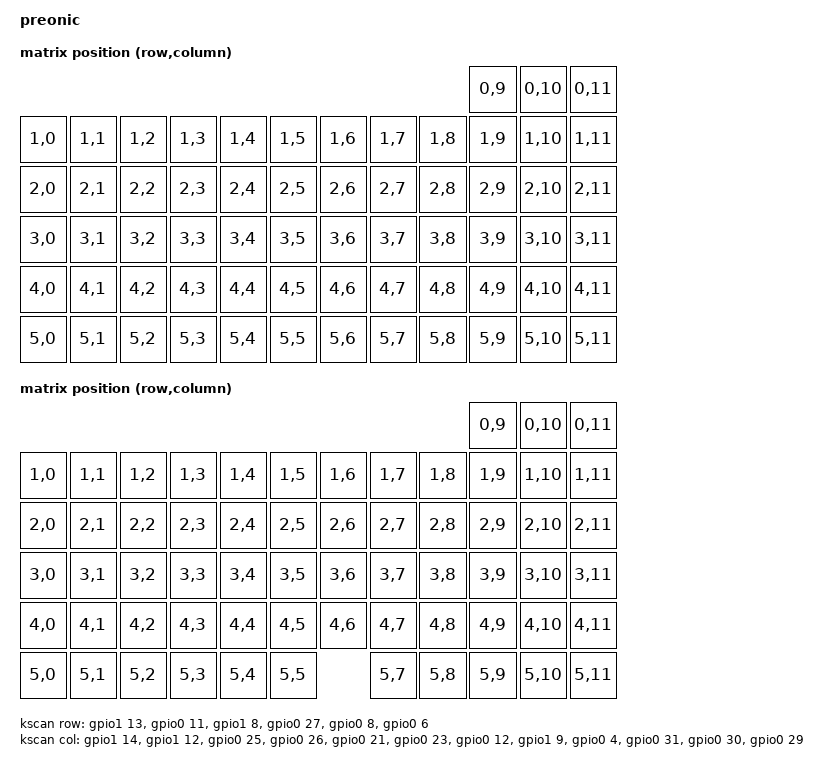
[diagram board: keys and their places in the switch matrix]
/*
 * Copyright (c) 2022 Pete Johanson
 *
 * SPDX-License-Identifier: MIT
 */

/dts-v1/;
#include <nordic/nrf52840_qiaa.dtsi>
#include <dt-bindings/zmk/matrix_transform.h>
#include <physical_layouts.dtsi>

/ {
	model = "preonic";
	compatible = "keyboardio,preonic";

	chosen {
		zephyr,code-partition = &code_partition;
		zephyr,sram = &sram0;
		zephyr,flash = &flash0;
		zmk,battery = &fuelgauge;
		zmk,kscan = &kscan;
		zmk,physical-layout = &preonic_layout;
	};

	ortho_transform: ortho_transform {
		compatible = "zmk,matrix-transform";
		rows = <4>;
		columns = <12>;

		map = <
	                                                                        RC(0,9) RC(0,10) RC(0,11)
	RC(1,0) RC(1,1) RC(1,2) RC(1,3) RC(1,4) RC(1,5) RC(1,6) RC(1,7) RC(1,8) RC(1,9) RC(1,10) RC(1,11)
	RC(2,0) RC(2,1) RC(2,2) RC(2,3) RC(2,4) RC(2,5) RC(2,6) RC(2,7) RC(2,8) RC(2,9) RC(2,10) RC(2,11)
	RC(3,0) RC(3,1) RC(3,2) RC(3,3) RC(3,4) RC(3,5) RC(3,6) RC(3,7) RC(3,8) RC(3,9) RC(3,10) RC(3,11)
	RC(4,0) RC(4,1) RC(4,2) RC(4,3) RC(4,4) RC(4,5) RC(4,6) RC(4,7) RC(4,8) RC(4,9) RC(4,10) RC(4,11)
	RC(5,0) RC(5,1) RC(5,2) RC(5,3) RC(5,4) RC(5,5) RC(5,6) RC(5,7) RC(5,8) RC(5,9) RC(5,10) RC(5,11)
	>;
	};

	mit_transform: mit_transform {
		compatible = "zmk,matrix-transform";
		rows = <4>;
		columns = <12>;

		map = <
	                                                                        RC(0,9) RC(0,10) RC(0,11)
	RC(1,0) RC(1,1) RC(1,2) RC(1,3) RC(1,4) RC(1,5) RC(1,6) RC(1,7) RC(1,8) RC(1,9) RC(1,10) RC(1,11)
	RC(2,0) RC(2,1) RC(2,2) RC(2,3) RC(2,4) RC(2,5) RC(2,6) RC(2,7) RC(2,8) RC(2,9) RC(2,10) RC(2,11)
	RC(3,0) RC(3,1) RC(3,2) RC(3,3) RC(3,4) RC(3,5) RC(3,6) RC(3,7) RC(3,8) RC(3,9) RC(3,10) RC(3,11)
	RC(4,0) RC(4,1) RC(4,2) RC(4,3) RC(4,4) RC(4,5) RC(4,6) RC(4,7) RC(4,8) RC(4,9) RC(4,10) RC(4,11)
	RC(5,0) RC(5,1) RC(5,2) RC(5,3) RC(5,4)     RC(5,5)     RC(5,7) RC(5,8) RC(5,9) RC(5,10) RC(5,11)
	>;
	};

	kscan: kscan {
		compatible = "zmk,kscan-gpio-matrix";

		wakeup-source;

		diode-direction = "col2row";

		col-gpios
			= <&gpio1 14 (GPIO_ACTIVE_HIGH)>
			, <&gpio1 12 (GPIO_ACTIVE_HIGH)>
			, <&gpio0 25 (GPIO_ACTIVE_HIGH)>
			, <&gpio0 26 (GPIO_ACTIVE_HIGH)>
			, <&gpio0 21 (GPIO_ACTIVE_HIGH)>
			, <&gpio0 23 (GPIO_ACTIVE_HIGH)>
			, <&gpio0 12 (GPIO_ACTIVE_HIGH)>
			, <&gpio1 9  (GPIO_ACTIVE_HIGH)>
			, <&gpio0 4  (GPIO_ACTIVE_HIGH)>
			, <&gpio0 31 (GPIO_ACTIVE_HIGH)>
			, <&gpio0 30 (GPIO_ACTIVE_HIGH)>
			, <&gpio0 29 (GPIO_ACTIVE_HIGH)>
			;

		row-gpios
			= <&gpio1 13 (GPIO_ACTIVE_HIGH | GPIO_PULL_DOWN)>
			, <&gpio0 11 (GPIO_ACTIVE_HIGH | GPIO_PULL_DOWN)>
			, <&gpio1 8  (GPIO_ACTIVE_HIGH | GPIO_PULL_DOWN)>
			, <&gpio0 27 (GPIO_ACTIVE_HIGH | GPIO_PULL_DOWN)>
			, <&gpio0 8  (GPIO_ACTIVE_HIGH | GPIO_PULL_DOWN)>
			, <&gpio0 6  (GPIO_ACTIVE_HIGH | GPIO_PULL_DOWN)>
			;
	};

	preonic_layout: preonic_layout {
		compatible = "zmk,physical-layout";
		display-name = "Preonic Layout";
		transform = <&ortho_transform>;
		kscan = <&kscan>;

		keys  // Simple minimal test with just first few keys
			= <&key_physical_attrs 100 100  900    0       0    0    0>
			, <&key_physical_attrs 100 100 1000    0       0    0    0>
			, <&key_physical_attrs 100 100 1100    0       0    0    0>
			;
	};
};

&pinctrl {
       i2c0_default: i2c0_default {
               group1 {
                       psels = <NRF_PSEL(TWIM_SDA, 0, 7)>,
                               <NRF_PSEL(TWIM_SCL, 0, 5)>;
               };
       };

       i2c0_sleep: i2c0_sleep {
               group1 {
                       psels = <NRF_PSEL(TWIM_SDA, 0, 7)>,
                               <NRF_PSEL(TWIM_SCL, 0, 5)>;
                       low-power-enable;
               };
       };
};

&i2c0 {
	status = "okay";
	compatible = "nordic,nrf-twim";
	pinctrl-0 = <&i2c0_default>;
	pinctrl-1 = <&i2c0_sleep>;
	pinctrl-names = "default", "sleep";
	clock-frequency = <100000>;

	fuelgauge: max17048@36 {
		compatible = "zmk,maxim-max17048";
		reg = <0x36>;
	};
};

&adc {
	status = "okay";
};

&gpiote {
	status = "okay";
};

&gpio0 {
	status = "okay";
};

&gpio1 {
	status = "okay";
};


zephyr_udc0: &usbd {
	status = "okay";
}; 

&flash0 {
	/*
	 * For more information, see:
	 * http://docs.zephyrproject.org/latest/devices/dts/flash_partitions.html
	 */
	partitions {
		compatible = "fixed-partitions";
		#address-cells = <1>;
		#size-cells = <1>;
		
		sd_partition: partition@0 {
		    reg = <0x00000000 0x00026000>;
		};
		code_partition: partition@26000 {
		    reg = <0x00026000 0x000c6000>;
		};
		
		/*
		 * The flash starting at 0x000ec000 and ending at
		 * 0x000f3fff is reserved for use by the application.
		 */
		
		/*
		 * Storage partition will be used by FCB/LittleFS/NVS
		 * if enabled.
		 */
		storage_partition: partition@ec000 {
		    reg = <0x000ec000 0x00008000>;
		};
		
		boot_partition: partition@f4000 {
		    reg = <0x000f4000 0x0000c000>;
		};
	};
};
